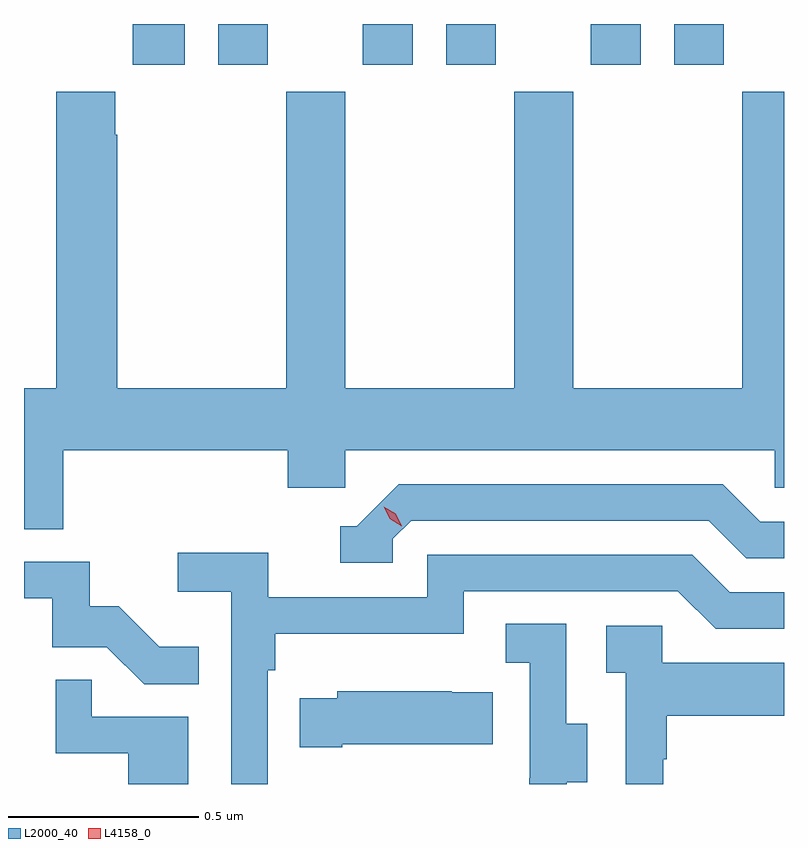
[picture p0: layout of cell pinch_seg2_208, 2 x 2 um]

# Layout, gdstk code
import gdstk
lib = gdstk.Library(unit=1e-6, precision=1e-09)
def R(c, l, rs):  # rectangles x0, y0, x1, y1
    for r in rs: c.add(gdstk.rectangle(r[:2], r[2:], *l))
def P(c, l, *ps):  # polygons
    for p in ps: c.add(gdstk.Polygon(p, *l))
L2000_40 = (2000, 40)
L4158_0 = (4158, 0)

pinch_seg2_208 = lib.new_cell('pinch_seg2_208')
R(pinch_seg2_208, L2000_40, [(975.641,664.635,975.778,664.742), (975.866,664.635,975.997,664.742), (976.247,664.635,976.378,664.742), (976.466,664.635,976.597,664.742), (976.847,664.635,976.978,664.742), (977.066,664.635,977.197,664.742)])
P(pinch_seg2_208, L2000_40, [(975.458,663.62),(976.049,663.62),(976.049,663.522),(976.2,663.522),(976.2,663.62),(977.331,663.62),(977.331,663.522),(977.355,663.522),(977.355,664.564),(977.245,664.564),(977.245,663.784),(976.8,663.784),(976.8,664.564),(976.645,664.564),(976.645,663.784),(976.2,663.784),(976.2,664.564),(976.045,664.564),(976.045,663.784),(975.6,663.784),(975.6,664.451),(975.595,664.451),(975.595,664.564),(975.44,664.564),(975.44,663.784),(975.355,663.784),(975.355,663.412),(975.458,663.412)],
  [(976.326,663.387),(976.374,663.435),(977.157,663.435),(977.256,663.336),(977.355,663.336),(977.355,663.432),(977.293,663.432),(977.194,663.531),(976.341,663.531),(976.23,663.42),(976.187,663.42),(976.187,663.324),(976.326,663.324)],
  [(975.996,663.041),(976.016,663.041),(976.016,663.137),(976.512,663.137),(976.512,663.249),(977.076,663.249),(977.175,663.15),(977.355,663.15),(977.355,663.246),(977.212,663.246),(977.113,663.345),(976.416,663.345),(976.416,663.234),(975.998,663.234),(975.998,663.35),(975.759,663.35),(975.759,663.248),(975.9,663.248),(975.9,662.742),(975.996,662.742)],
  [(975.815,663.103),(975.711,663.103),(975.604,663.21),(975.528,663.21),(975.528,663.327),(975.355,663.327),(975.355,663.231),(975.429,663.231),(975.429,663.102),(975.573,663.102),(975.671,663.004),(975.815,663.004)],
  [(976.783,662.746),(976.837,662.746),(976.837,662.901),(976.782,662.901),(976.782,663.164),(976.623,663.164),(976.623,663.061),(976.686,663.061),(976.686,662.757),(976.685,662.757),(976.685,662.742),(976.783,662.742)],
  [(977.037,662.807),(977.047,662.807),(977.047,662.921),(977.355,662.921),(977.355,663.061),(977.034,663.061),(977.034,663.159),(976.887,663.159),(976.887,663.035),(976.938,663.035),(976.938,662.742),(977.037,662.742)],
  [(975.787,662.919),(975.533,662.919),(975.533,663.017),(975.438,663.017),(975.438,662.823),(975.629,662.823),(975.629,662.742),(975.787,662.742)],
  [(976.192,662.846),(976.589,662.846),(976.589,662.983),(976.481,662.983),(976.481,662.986),(976.179,662.986),(976.179,662.968),(976.081,662.968),(976.081,662.839),(976.192,662.839)])
P(pinch_seg2_208, L4158_0, [(976.349,663.42),(976.318,663.44),(976.302,663.472),(976.302,663.472),(976.302,663.472),(976.333,663.453),(976.349,663.421),(976.349,663.42)])

lib.write_gds('pinch_seg2_208.gds')
